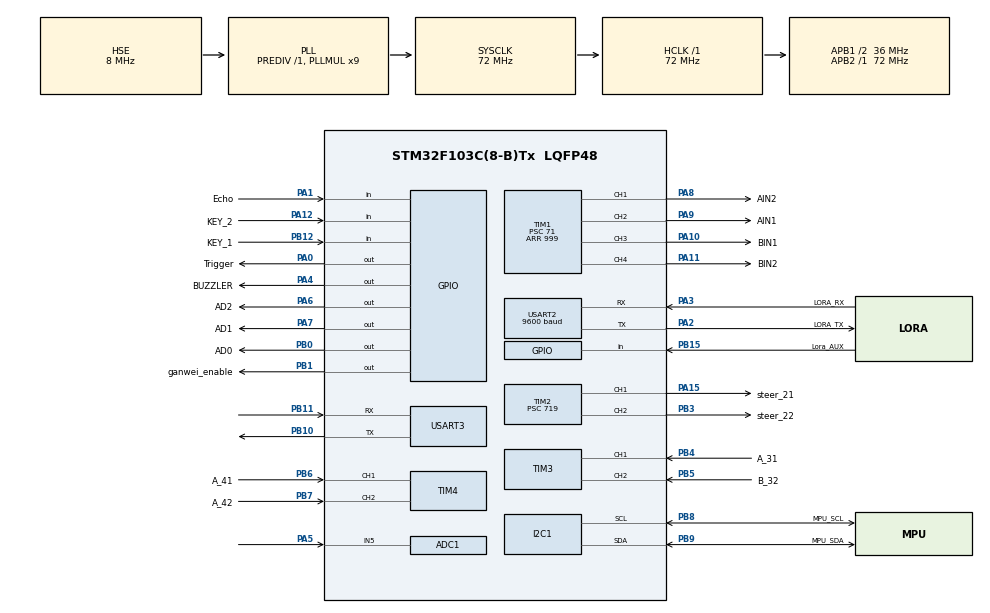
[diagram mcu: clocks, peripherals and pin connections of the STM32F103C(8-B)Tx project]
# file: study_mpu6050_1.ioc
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ADC1.Channel-0\#ChannelRegularConversion=ADC_CHANNEL_5
ADC1.NbrOfConversionFlag=1
ADC1.Rank-0\#ChannelRegularConversion=1
ADC1.SamplingTime-0\#ChannelRegularConversion=ADC_SAMPLETIME_71CYCLES_5
ADC1.master=1
Mcu.Family=STM32F1
Mcu.Name=STM32F103C(8-B)Tx
Mcu.Package=LQFP48
NVIC.PriorityGroup=NVIC_PRIORITYGROUP_4
NVIC.TIM1_UP_IRQn=true\:1\:0\:true\:false\:true\:true\:true\:true
NVIC.USART2_IRQn=true\:2\:0\:true\:false\:true\:true\:true\:true
PA0-WKUP.GPIO_Label=Trigger
PA0-WKUP.GPIO_PuPd=GPIO_NOPULL
PA0-WKUP.Signal=GPIO_Output
PA1.GPIO_Label=Echo
PA1.GPIO_PuPd=GPIO_PULLDOWN
PA1.Signal=GPIO_Input
PA10.GPIO_Label=BIN1
PA10.Signal=S_TIM1_CH3
PA11.GPIO_Label=BIN2
PA11.Signal=S_TIM1_CH4
PA12.GPIO_Label=KEY_2
PA12.GPIO_PuPd=GPIO_PULLUP
PA12.Signal=GPIO_Input
PA13.Mode=Serial_Wire
PA13.Signal=SYS_JTMS-SWDIO
PA14.Mode=Serial_Wire
PA14.Signal=SYS_JTCK-SWCLK
PA15.GPIO_Label=steer_21
PA15.Signal=S_TIM2_CH1_ETR
PA2.GPIO_Label=LORA_TX
PA2.Mode=Asynchronous
PA2.Signal=USART2_TX
PA3.GPIO_Label=LORA_RX
PA3.Mode=Asynchronous
PA3.Signal=USART2_RX
PA4.GPIO_Label=BUZZLER
PA4.Signal=GPIO_Output
PA5.Signal=ADCx_IN5
PA6.GPIO_Label=AD2
PA6.Signal=GPIO_Output
PA7.GPIO_Label=AD1
PA7.Signal=GPIO_Output
PA8.GPIO_Label=AIN2
PA8.Signal=S_TIM1_CH1
PA9.GPIO_Label=AIN1
PA9.Signal=S_TIM1_CH2
PB0.GPIO_Label=AD0
PB0.Signal=GPIO_Output
PB1.GPIO_Label=ganwei_enable
PB1.GPIO_PuPd=GPIO_NOPULL
PB1.Signal=GPIO_Output
PB10.Mode=Asynchronous
PB10.Signal=USART3_TX
PB11.Mode=Asynchronous
PB11.Signal=USART3_RX
PB12.GPIO_Label=KEY_1
PB12.GPIO_PuPd=GPIO_PULLUP
PB12.Signal=GPIO_Input
PB15.GPIO_Label=Lora_AUX
PB15.GPIO_PuPd=GPIO_PULLUP
PB15.Signal=GPIO_Input
PB3.GPIO_Label=steer_22
PB3.Signal=S_TIM2_CH2
PB4.GPIO_Label=A_31
PB4.Signal=S_TIM3_CH1
PB5.GPIO_Label=B_32
PB5.Signal=S_TIM3_CH2
PB6.GPIO_Label=A_41
PB6.Signal=S_TIM4_CH1
PB7.GPIO_Label=A_42
PB7.Signal=S_TIM4_CH2
PB8.GPIO_Label=MPU_SCL
PB8.Mode=I2C
PB8.Signal=I2C1_SCL
PB9.GPIO_Label=MPU_SDA
PB9.Mode=I2C
PB9.Signal=I2C1_SDA
PD0-OSC_IN.Mode=HSE-External-Oscillator
PD0-OSC_IN.Signal=RCC_OSC_IN
PD1-OSC_OUT.Mode=HSE-External-Oscillator
PD1-OSC_OUT.Signal=RCC_OSC_OUT
ProjectManager.HeapSize=0x200
ProjectManager.StackSize=0x400
ProjectManager.TargetToolchain=MDK-ARM V5
RCC.ADCPresc=RCC_ADCPCLK2_DIV6
RCC.AHBFreq_Value=72000000
RCC.APB1CLKDivider=RCC_HCLK_DIV2
RCC.APB1Freq_Value=36000000
RCC.APB1TimFreq_Value=72000000
RCC.APB2Freq_Value=72000000
RCC.APB2TimFreq_Value=72000000
RCC.HCLKFreq_Value=72000000
RCC.PLLMUL=RCC_PLL_MUL9
RCC.PLLSourceVirtual=RCC_PLLSOURCE_HSE
RCC.SYSCLKFreq_VALUE=72000000
RCC.SYSCLKSource=RCC_SYSCLKSOURCE_PLLCLK
RCC.USBFreq_Value=72000000
SH.ADCx_IN5.0=ADC1_IN5,IN5
SH.S_TIM1_CH1.0=TIM1_CH1,PWM Generation1 CH1
SH.S_TIM1_CH2.0=TIM1_CH2,PWM Generation2 CH2
SH.S_TIM1_CH3.0=TIM1_CH3,PWM Generation3 CH3
SH.S_TIM1_CH4.0=TIM1_CH4,PWM Generation4 CH4
SH.S_TIM2_CH1_ETR.0=TIM2_CH1,PWM Generation1 CH1
SH.S_TIM2_CH2.0=TIM2_CH2,PWM Generation2 CH2
SH.S_TIM3_CH1.0=TIM3_CH1,Encoder_Interface
SH.S_TIM3_CH2.0=TIM3_CH2,Encoder_Interface
SH.S_TIM4_CH1.0=TIM4_CH1,Encoder_Interface
SH.S_TIM4_CH2.0=TIM4_CH2,Encoder_Interface
TIM1.AutoReloadPreload=TIM_AUTORELOAD_PRELOAD_ENABLE
TIM1.Channel-PWM\ Generation1\ CH1=TIM_CHANNEL_1
TIM1.Channel-PWM\ Generation2\ CH2=TIM_CHANNEL_2
TIM1.Channel-PWM\ Generation3\ CH3=TIM_CHANNEL_3
TIM1.Channel-PWM\ Generation4\ CH4=TIM_CHANNEL_4
TIM1.Period=999
TIM1.Prescaler=71
TIM2.AutoReloadPreload=TIM_AUTORELOAD_PRELOAD_ENABLE
TIM2.Channel-PWM\ Generation1\ CH1=TIM_CHANNEL_1
TIM2.Channel-PWM\ Generation2\ CH2=TIM_CHANNEL_2
TIM2.Period=1999
TIM2.Prescaler=719
TIM2.Pulse-PWM\ Generation1\ CH1=150
TIM2.Pulse-PWM\ Generation2\ CH2=150
TIM3.AutoReloadPreload=TIM_AUTORELOAD_PRELOAD_ENABLE
TIM3.EncoderMode=TIM_ENCODERMODE_TI12
TIM3.IC1Filter=8
TIM3.IC2Filter=8
TIM4.AutoReloadPreload=TIM_AUTORELOAD_PRELOAD_ENABLE
TIM4.EncoderMode=TIM_ENCODERMODE_TI12
TIM4.IC1Filter=8
TIM4.IC2Filter=8
USART2.BaudRate=9600
USART2.VirtualMode=VM_ASYNC
USART3.VirtualMode=VM_ASYNC
VP_TIM1_VS_ClockSourceINT.Mode=Internal
VP_TIM2_VS_ClockSourceINT.Mode=Internal
board=custom

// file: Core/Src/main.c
/* USER CODE BEGIN Header */
/**
  ******************************************************************************
  * @file           : main.c
  * @brief          : Main program body
  ******************************************************************************
  * @attention
  *
  * Copyright (c) 2026 STMicroelectronics.
  * All rights reserved.
  *
  * This software is licensed under terms that can be found in the LICENSE file
  * in the root directory of this software component.
  * If no LICENSE file comes with this software, it is provided AS-IS.
  *
  ******************************************************************************
  */
/* USER CODE END Header */
#include "main.h"
#include "adc.h"
#include "i2c.h"
#include "tim.h"
#include "usart.h"
#include "gpio.h"
#include <stdlib.h>
#include <mpu6050.h>
/* USER CODE BEGIN Includes */
#include "stdio.h"
#include "lora.h"
#include "buzzler.h"
#include "ultrasonic.h"
#include "at8236.h"
#include "encoder.h"
#include "gray.h"
#include "pid.h"
#include "task.h"
#include "steer.h"
#include "IMU.h"
//hywhywhyw
/* USER CODE END Includes */

/* USER CODE BEGIN PV */
/* 定义PID结构体变量:循迹
   target:0
   actual:track_error 由CalculateNormalizedValue得出
   out:左右轮差速补偿
*/

PID_t yaw={
    .Target = 0,
    .Actual = 0,
    .Out = 0,
    .Kp = 0.003f,
    .Ki = 0.00005f,
    .Kd = 0.005f,
    .Error_now = 0,
    .Error_last = 0,
    .ErrorInt = 0,
    .OutMax = 1000,
    .OutMin = -1000,
    .KdOut = 0,
    .cmd=1,
    .InteralCoef=0.00041f,
    .difffilter=0.4f,
};
/*
  定义PID结构体变量：左轮速度
  target:期望速度
  actual:left_speed 由Left_Speed_Proc给出
  Out:PWM
*/
PID_t speed_L={
    .Target = 0,
    .Actual = 0,
    .Out = 0,
    .Kp = 35.0f,
    .Ki = 0.13f,
    .Kd = 0.18f,
    .Error_now = 0,
    .Error_last = 0,
    .ErrorInt = 0,
    .OutMax = 1000,
    .OutMin = -1000,
    .KdOut = 0,
    .cmd=1,
    .InteralCoef=0.0f,
    .difffilter=0.1f,
};

PID_t speed_R={
    .Target = 0,
    .Actual = 0,
    .Out = 0,
    .Kp = 35.0f,
    .Ki = 0.13f,
    .Kd = 0.18f,
    .Error_now = 0,
    .Error_last = 0,
    .ErrorInt = 0,
    .OutMax = 1000,
    .OutMin = -1000,
    .KdOut = 0,
    .cmd=1,
    .InteralCoef=0.0f,
    .difffilter=0.1f,
};
PID_t error={
    .Target = 0,
    .Actual = 0,
    .Out = 0,
    .Kp = 0.01f,
    .Ki = 0.0f,
    .Kd = 0.0f,
    .Error_now = 0,
    .Error_last = 0,
    .ErrorInt = 0,
    .OutMax = 1000,
    .OutMin = -1000,
    .KdOut = 0,
    .cmd=0,
    .InteralCoef=0.0f,
};   // 定义PID结构体变量：速度差
PID_t pid_pianhang={
    .Target=0,
    .Actual=0,
    .Out=0,
    .Kp=2.0f,
    .Ki=0.1f,
    .Kd=0.0f,
    .Error_now=0,
    .Error_last=0,
    .ErrorInt=0,
    .OutMax=1000,
    .OutMin=-1000,
    .KdOut=0,
    .cmd=0,
    .InteralCoef=0.15f,
};   // 定义PID结构体变量：偏航
volatile float pianhang = 0.0f; // 偏航角变量
// 定义小车运行状态的枚举类型
typedef enum {
    CAR_STATE_TRACKING = 0,    // 循迹状态（默认/核心状态）
    CAR_STATE_LOST_LINE_GO = 1,// 丢线直行状态
    CAR_STATE_OBSTACLE_AVOID = 2, // 避障状态
    CAR_STATE_TURN_LEFT = 3,   // 左转状态
    CAR_STATE_TURN_RIGHT = 4   // 右转状态
} CarState;
volatile CarState car_state = CAR_STATE_TRACKING; // 初始化为循迹状态
// volatile CarState car_state=CAR_STATE_LOST_LINE_GO;//PID调参测试专用

//超声波+速度传感
volatile int16_t  track_error = 0;    // 灰度传感器计算出的偏航偏差
volatile uint16_t front_distance = 999; // 超声波前方距离（cm）
volatile int16_t  left_speed = 0;     // 左轮当前速度（编码器反馈）
volatile int16_t  right_speed = 0;    // 右轮当前速度（编码器反馈）

//灰度传感器
unsigned short Anolog[8] = {0};      // 存储当前模拟量值的数组
unsigned short white[8] = {1392, 2178, 1391, 2178, 1548, 1483, 1553, 1476}; // 存储白色校准值的数组
unsigned short black[8] = {81,708,81,708,316,145,320,143};   // 存储黑色校准值的数组
unsigned short Normal[8];          // 归一化值数组
No_MCU_Sensor sensor;              // 传感器数据结构体
unsigned char Digtal;							 // 数字量

volatile uint8_t flag_avoid_done = 0;  // 接收中断避障完成的信息
volatile uint8_t flag_avoid_reset = 0; // 发送给中断的命令：复位避障步骤

uint8_t rx_byte = 0;    // 缓存当前接收字节
uint8_t rx_cmd = 0;     // 暂存指令字符
uint8_t rx_state = 0;   // 0:等C, 1:等指令, 2:等数值
char rx_buf[20];        // 暂存数值字符串
uint8_t rx_index = 0;   // 缓冲区索引
/* USER CODE END PV */

void SystemClock_Config(void);

/* USER CODE BEGIN 0 */
int fputc(int ch, FILE *f)
{
    HAL_UART_Transmit(&huart2, (uint8_t *)&ch, 1,HAL_MAX_DELAY);
    return ch;
}
void StateMachine_Update(void)
{
    PERIODIC(15); // 15ms周期调用一次状态机更新函数
    // 定义静态防抖计数器，函数退出后值不会消失
    static uint8_t lost_line_cnt = 0;
    static uint8_t find_line_cnt = 0;
    static uint8_t obstacle_cnt = 0;

    // 计算当前传感器中白灯的数量
    uint8_t white_num = 0;
    for (int i = 0; i < 8; i++) {
        if ((sensor.Digtal >> i) & 0x01) white_num++;
    }
    uint8_t black_num = 8 - white_num;

    switch (car_state)
    {
        // ==========================================
        // 状态 1：正常循迹
        // ==========================================
        case CAR_STATE_TRACKING:
            // 优先级最高：判断是否需要避障 (小于50cm)
            if (front_distance < 30) {
                if (++obstacle_cnt > 3) {  // 连续3次确认，防抖
                    car_state = CAR_STATE_OBSTACLE_AVOID;

                    // 通知中断层的避障函数复位内部静态变量，准备执行新的避障！
                    flag_avoid_reset = 1;

                    obstacle_cnt = 0;
                }
            }
            else {
                obstacle_cnt = 0;

                // 次优先级：判断是否丢线 (7个及以上白灯连续5次)
                if (white_num >= 7) {
                    if (++lost_line_cnt >= 5) { // 连续5次满足条件
                        car_state = CAR_STATE_LOST_LINE_GO;
                        pid_pianhang.Target = pianhang; // 锁定当前航向为直行目标
                    }
                } else {
                    lost_line_cnt = 0;
                }
            }
            break;

        // ==========================================
        // 状态 2：丢线直行 (通过双轮编码器同步 PID 保持直走)
        // ==========================================
        case CAR_STATE_LOST_LINE_GO:
            // 防撞！
            if (front_distance < 30) {
                if (++obstacle_cnt > 4) {
                    car_state = CAR_STATE_OBSTACLE_AVOID;

                    // 同样需要通知中断层复位避障动作
                    flag_avoid_reset = 1;

                    obstacle_cnt = 0;
                }
            }
            else {
                obstacle_cnt = 0;

                // 判断是否重新踩到了黑线 (2个及以上黑灯连续5次)
                if (black_num >= 2) {
                    if (++find_line_cnt >= 5) { // 连续确认5次
                        car_state = CAR_STATE_TRACKING; // 成功找回黑线，切回循迹

                        // 为接下来的循迹转向环清除数据
                        yaw.ErrorInt = 0;
                        yaw.Error_last = yaw.Error_now;
                        yaw.KdOut = 0;
                        find_line_cnt = 0;
                    }
                } else {
                    find_line_cnt = 0;
                }
            }
            break;

        // ==========================================
        // 状态 3：避障模式
        // ==========================================
        case CAR_STATE_OBSTACLE_AVOID:
            // 此时底层定时器中断正在高频调用 Avoidance_Run 控制电机

            if (flag_avoid_done == 1) {

            //     // 避障彻底完成，严格按照逻辑直接切回循迹状态！
                car_state = CAR_STATE_TRACKING;

            //     // 避障刚结束车身大概率有偏角，必须清零转向 PID 重新平滑切入赛道
                yaw.ErrorInt = 0;
                yaw.Error_last = 0;
                yaw.KdOut = 0;

            //     // 收起捷报，清空信箱，为下一次避障做准备
                flag_avoid_done = 0;
            }
            break;
    }
}
void HAL_TIM_PeriodElapsedCallback(TIM_HandleTypeDef *htim)
{
    if (htim->Instance == TIM1)
    {
        static uint8_t pid_cnt = 0;
        pid_cnt++;

        // 软件分频：满 20 次即为 20ms 的绝对稳定控制周期
        if (pid_cnt >= 20)
        {
            pid_cnt = 0;

            // 局部变量，存放算出来的“目标期望速度”
            int16_t target_L = 0;
            int16_t target_R = 0;
            int16_t base_speed = 20; // 基础直行期望速度，后续可调
             speed_L.Actual = Read_Encoder_Left(); // 编码器读回来的真实速度
             speed_R.Actual = Read_Encoder_Right();
            // ==========================================================
            // 第一步：外环决策  - 根据状态计算目标速度
            // ==========================================================
            switch (car_state)
            {
                case 0: // CAR_STATE_TRACKING (循迹模式)
                    // 1. 动态降速：误差越大，基础速度越慢 (安全过弯)
                    base_speed = 20 - (4 * abs(track_error) / 1024);
                    if (base_speed < 10) base_speed = 10; // 兜底最低速度
                    // // 2. 转向环 PID 计算
                    yaw.Target = 0;
                    yaw.Actual = track_error;
                    PID_Update(&yaw);
                    // // 3. 差速分配给左右轮目标速度
                    target_L = base_speed - (int16_t)yaw.Out;
                    target_R = base_speed + (int16_t)yaw.Out;
                    break;

                case 1: // CAR_STATE_LOST_LINE_GO (丢线直行)
                    pid_pianhang.Actual = pianhang;
                    PID_Update(&pid_pianhang);
                    target_L = base_speed + (int16_t)pid_pianhang.Out;
                    target_R = base_speed - (int16_t)pid_pianhang.Out;
                    break;

                case 2: // CAR_STATE_OBSTACLE_AVOID (避障机动)
                    // 1. 拦截主函数发来的复位
                    if (flag_avoid_reset == 1) {
                        Avoidance_Run(&target_L, &target_R, 1, Digtal);
                        flag_avoid_reset = 0; // 执行完复位，重置标志位
                    }
                    // 2. 正常执行避障非阻塞状态机
                    else {
                        if (Avoidance_Run(&target_L, &target_R, 0, Digtal) == 1) {
                            flag_avoid_done = 1; // 升起捷报，通知主循环切回循迹
                        }
                    }
                    break;

                case 3: // CAR_STATE_TURN_LEFT (左转 30 度)
                    if (ClosedLoop_Turn(pid_pianhang.Target, &target_L, &target_R) == 1) {
                        car_state = CAR_STATE_LOST_LINE_GO; // 转完切直行
                        pid_pianhang.Target = pianhang;     // 锁定当前航向
                    }
                    break;

                case 4: // CAR_STATE_TURN_RIGHT (右转 30 度)
                    if (ClosedLoop_Turn(pid_pianhang.Target, &target_L, &target_R) == 1) {
                        car_state = CAR_STATE_LOST_LINE_GO; // 转完切直行
                        pid_pianhang.Target = pianhang;
                    }
                    break;
            }

            // ==========================================================
            // 第二步：内环执行
            // ==========================================================

            // 1. 计算左轮速度环 PID
            speed_L.Target = target_L;
            PID_Update(&speed_L);
            // 2. 计算右轮速度环 PID
            speed_R.Target = target_R;
            PID_Update(&speed_R);
            if(speed_L.Out>900)speed_L.Out=900;
            if(speed_L.Out<-900)speed_L.Out=-900;
            if(speed_R.Out>900)speed_R.Out=900;
            if(speed_R.Out<-900)speed_R.Out=-900;
            // ==========================================================
            // 第三步：硬件输出 - 经过你封装接口发给 AT8236
            // ==========================================================
            // 因为写的是位置式 PID，算出来的 Out 直接就是 PWM 占空比
            if(error.cmd==1){
            Motor_SetPWM((int16_t)speed_L.Out, (int16_t)speed_R.Out);
        }
        else{
          Motor_SetPWM(0, 0);
        }
    }
}}
// 串口调参执行函数
// 传入参数 cmd: 指令字符; val: 需要设置的数值
void UART_PID_Tune(uint8_t cmd, float val)
{
    switch(cmd)
    {
        // ================= PID 参数设置 (数值生效) =================
        case 'a': yaw.Kp = val;     printf("yaw Kp = %.3f\r\n", yaw.Kp); break;
        case 'c': yaw.Ki = val;     printf("yaw Ki = %.3f\r\n", yaw.Ki); break;
        case 'e': yaw.Kd = val;     printf("yaw Kd = %.3f\r\n", yaw.Kd); break;

        case 'g': speed_L.Kp = val; printf("speed_L Kp = %.3f\r\n", speed_L.Kp); break;
        case 'i': speed_L.Ki = val; printf("speed_L Ki = %.3f\r\n", speed_L.Ki); break;
        case 'k': speed_L.Kd = val; printf("speed_L Kd = %.3f\r\n", speed_L.Kd); break;

        case 'm': speed_R.Kp = val; printf("speed_R Kp = %.3f\r\n", speed_R.Kp); break;
        case 'o': speed_R.Ki = val; printf("speed_R Ki = %.3f\r\n", speed_R.Ki); break;
        case 'q': speed_R.Kd = val; printf("speed_R Kd = %.3f\r\n", speed_R.Kd); break;

        case 's': pid_pianhang.Kp = val;   printf("pid_pianhang Kp = %.3f\r\n", pid_pianhang.Kp); break;
        case 'u': pid_pianhang.Ki = val;   printf("pid_pianhang Ki = %.3f\r\n", pid_pianhang.Ki); break;
        case 'w': pid_pianhang.Kd = val;   printf("pid_pianhang Kd = %.3f\r\n", pid_pianhang.Kd); break;

        // ================= 控制指令 (固定动作) =================
        case 'L': // 左转 30 度
            pid_pianhang.Target = pianhang + 30.0f;
            pid_pianhang.ErrorInt = 0; pid_pianhang.Error_last = 0;
            car_state = CAR_STATE_TURN_LEFT;
            error.cmd = 1;
            break;

        case 'R': // 右转 30 度
            pid_pianhang.Target = pianhang - 30.0f;
            pid_pianhang.ErrorInt = 0; pid_pianhang.Error_last = 0;
            car_state = CAR_STATE_TURN_RIGHT;
            error.cmd = 1;
            break;

        case 'A': // 执行避障
            flag_avoid_reset = 1;
            car_state = CAR_STATE_OBSTACLE_AVOID;
            error.cmd = 1;
            break;

        case 'G': // 直行一段距离 (锁定当前航向)
            pid_pianhang.Target = pianhang;
            pid_pianhang.ErrorInt = 0; pid_pianhang.Error_last = 0;
            car_state = CAR_STATE_LOST_LINE_GO;
            error.cmd = 1;
            break;

        case 'y':
                  speed_L.Target = 20; speed_R.Target = 20;
                  error.cmd = 1;
                  // 清除积分/误差
                  yaw.ErrorInt = 0; yaw.Error_last = 0;
                  speed_L.ErrorInt = 0; speed_L.Error_last = 0;
                  speed_R.ErrorInt = 0; speed_R.Error_last = 0;
                  pid_pianhang.ErrorInt = 0; pid_pianhang.Error_last = 0;
                  car_state = CAR_STATE_TRACKING; // 切回循迹状态
                  break;
        case 'z':
                  error.cmd = 0;
                  break;
        default: break; // 其他不理会
    }
}
//回调函数
void HAL_UART_RxCpltCallback(UART_HandleTypeDef *huart)
{
    if (huart->Instance == USART2) // 确认是串口2发来的
    {
        switch (rx_state)
        {
            case 0: // 【状态0：等帧头 'C'】
                if (rx_byte == 'C') {
                    rx_state = 1;
                }
                break;

            case 1: // 【状态1：存指令字符】
                rx_cmd = rx_byte;
                rx_index = 0;
                rx_state = 2;
                break;

            case 2: // 【状态2：存数值，直到换行】
                if (rx_byte == '\r' || rx_byte == '\n') {
                    rx_buf[rx_index] = '\0'; // 字符串结束符
                    // 执行调参逻辑
                    UART_PID_Tune(rx_cmd, atof(rx_buf));
                    rx_state = 0; // 回到初始状态，等待下一个 'C'
                } else {
                    // 只要不是换行符，且缓冲区没满，就存入 rx_buf
                    if (rx_index < sizeof(rx_buf) - 1) {
                        rx_buf[rx_index++] = rx_byte;
                    }
                }
                break;
        }

        // 重新开启中断接收下一个字节
        HAL_UART_Receive_IT(&huart2, &rx_byte, 1);
    }
}

void IMU_Test(void)
{
    float angles[3];
    PERIODIC(100); // 100ms周期打印一次
    IMU_getYawPitchRoll(angles);
    printf("%.2f,%.2f,%.2f\r\n", angles[0], angles[1], angles[2]);
}
/* USER CODE END 0 */

int main(void)
{

  /* MCU Configuration--------------------------------------------------------*/

  /* Reset of all peripherals, Initializes the Flash interface and the Systick. */
  HAL_Init();

  /* Configure the system clock */
  SystemClock_Config();

  /* Initialize all configured peripherals */
  MX_GPIO_Init();
  MX_I2C1_Init();
  MX_USART2_UART_Init();
  MX_USART3_UART_Init();
  MX_TIM2_Init();
  MX_ADC1_Init();
  MX_TIM3_Init();
  MX_TIM4_Init();
  MX_TIM1_Init();
  /* USER CODE BEGIN 2 */
  //调用init函数
  HAL_TIM_Base_Start_IT(&htim1);  // 开启 TIM1 的定时器中断
  HAL_UART_Receive_IT(&huart2, &rx_byte, 1);// 开启 USART2 的接收中断，准备接收调参命令
  Motor_Init();
  // MPU6050_Init(); // IMU_init() internally calls MPU6050_Init()
  SR04_Init();
  Encoder_Init();
  No_MCU_Ganv_Sensor_Init(&sensor,white,black);
  ESP8266_Init("F521F520","f521f520","192.168.112.73","8080");
  Steer_SetAngle(90);
  IMU_init();
  // HAL_Delay(10);
  // Steer_Stop();
  // gray_test();
  // Motor_SetPWM(320, 320);
  // Motor_Test_IO();
  // MPU6050_Test();
  // MPU6050_EularAngleTest();
  // Avoidance_Speed_Test();  //单位统一函数
  // Encoder_Test();
  // SR04_Test();
  // Buzzler_beep_Test();
  /* USER CODE END 2 */

  /* Infinite loop */
  /* USER CODE BEGIN WHILE */
  while (1)
  {
    // IMU_Test();
    //  printf("he yi wei!?\r\n");
    //  HAL_Delay(800);
    //更新传感器数据 (每个Proc函数都调用了PERIODIC宏，用于实现伪并行)
    // Left_Speed_Proc(&left_speed);    这两行代码是大错特错 读取速度必须在中断函数里 否则数据不是实时的！
    // Right_Speed_Proc(&right_speed);
    SR04_Proc(&front_distance);
    Gray_Proc(&sensor, Normal, &track_error);
    Digtal=Get_Digtal_For_User(&sensor);
    MPU_Proc(&pianhang);
    StateMachine_Update(); // 根据当前传感器数据和状态机逻辑更新小车状态
    /* USER CODE END WHILE */

    /* USER CODE BEGIN 3 */
    //下面是利用vofa调试时需要的代码
    PERIODIC_START(Task_Vofa_Print, 500)
    //     printf("%.5f,%.5f,%.5f,%.5f,%.5f,%.5f,%.5f,%.5f,%.5f,%.5f,%.5f,%.5f,%.5f,%.5f,%.5f,%.5f,%.5f,%.5f,%.5f,%.5f,%.5f,%.5f,%.5f,%.5f,%d,%d,%.4f,%.5f,%.5f,%.5f,%.5f\r\n",
    //         error.Actual, error.Target, error.Out,
    //         yaw.Actual, yaw.Target, yaw.Out,
    //         speed_L.Actual, speed_L.Target, speed_L.Out,
    //         speed_R.Actual, speed_R.Target, speed_R.Out,
    //         pid_pianhang.Kp, pid_pianhang.Ki, pid_pianhang.Kd,
    //         yaw.Kp, yaw.Ki, yaw.Kd,
    //         speed_L.Kp, speed_L.Ki, speed_L.Kd,
    //         speed_R.Kp, speed_R.Ki, speed_R.Kd,
    //         track_error,(int)yaw.ErrorInt,
    //         (float)(((Digtal>>7)&1)*1000 + ((Digtal>>6)&1)*100 + ((Digtal>>5)&1)*10 + ((Digtal>>4)&1) + ((Digtal>>3)&1)*0.1f + ((Digtal>>2)&1)*0.01f + ((Digtal>>1)&1)*0.001f + (Digtal&1)*0.0001f),
    //         pid_pianhang.Actual, pid_pianhang.Target, pid_pianhang.Out, pianhang);
    printf("%d\r\n", car_state);
    PERIODIC_END
    // 串口发送数据的 1 2 3是error的actual target out 4,5,6是yaw的actual target out 7,8,9是speed_L的actual target out
    // 10 11 12 是speed_R的actual target out 13 14 15是error的KP KI KD 16 17 18是yaw的KP KI KD 19 20 21是speed_L的KP KI KD 22 23 24是speed_R的KP KI KD
  }
  return 0;
  /* USER CODE END 3 */
}

void SystemClock_Config(void)
{
  RCC_OscInitTypeDef RCC_OscInitStruct = {0};
  RCC_ClkInitTypeDef RCC_ClkInitStruct = {0};
  RCC_PeriphCLKInitTypeDef PeriphClkInit = {0};

  /** Initializes the RCC Oscillators according to the specified parameters
  * in the RCC_OscInitTypeDef structure.
  */
  RCC_OscInitStruct.OscillatorType = RCC_OSCILLATORTYPE_HSE;
  RCC_OscInitStruct.HSEState = RCC_HSE_ON;
  RCC_OscInitStruct.HSEPredivValue = RCC_HSE_PREDIV_DIV1;
  RCC_OscInitStruct.HSIState = RCC_HSI_ON;
  RCC_OscInitStruct.PLL.PLLState = RCC_PLL_ON;
  RCC_OscInitStruct.PLL.PLLSource = RCC_PLLSOURCE_HSE;
  RCC_OscInitStruct.PLL.PLLMUL = RCC_PLL_MUL9;
  if (HAL_RCC_OscConfig(&RCC_OscInitStruct) != HAL_OK)
  {
    Error_Handler();
  }

  /** Initializes the CPU, AHB and APB buses clocks
  */
  RCC_ClkInitStruct.ClockType = RCC_CLOCKTYPE_HCLK|RCC_CLOCKTYPE_SYSCLK
                              |RCC_CLOCKTYPE_PCLK1|RCC_CLOCKTYPE_PCLK2;
  RCC_ClkInitStruct.SYSCLKSource = RCC_SYSCLKSOURCE_PLLCLK;
  RCC_ClkInitStruct.AHBCLKDivider = RCC_SYSCLK_DIV1;
  RCC_ClkInitStruct.APB1CLKDivider = RCC_HCLK_DIV2;
  RCC_ClkInitStruct.APB2CLKDivider = RCC_HCLK_DIV1;

  if (HAL_RCC_ClockConfig(&RCC_ClkInitStruct, FLASH_LATENCY_2) != HAL_OK)
  {
    Error_Handler();
  }
  PeriphClkInit.PeriphClockSelection = RCC_PERIPHCLK_ADC;
  PeriphClkInit.AdcClockSelection = RCC_ADCPCLK2_DIV6;
  if (HAL_RCCEx_PeriphCLKConfig(&PeriphClkInit) != HAL_OK)
  {
    Error_Handler();
  }
}

void Error_Handler(void)
{
  __disable_irq();
  while (1)
  {
  }
}
